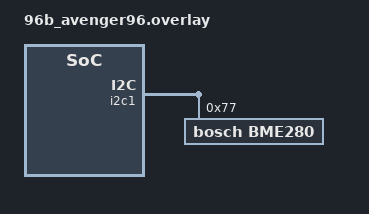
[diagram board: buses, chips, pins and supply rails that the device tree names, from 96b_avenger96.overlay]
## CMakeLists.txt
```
# SPDX-License-Identifier: Apache-2.0

cmake_minimum_required(VERSION 3.13.1)

include($ENV{ZEPHYR_BASE}/cmake/app/boilerplate.cmake NO_POLICY_SCOPE)
project(sensor_cluster)

zephyr_compile_definitions(
  -DMETAL_MAX_DEVICE_REGIONS=2
  -DVIRTIO_SLAVE_ONLY
  )
target_include_directories(app PRIVATE $ENV{ZEPHYR_BASE}/drivers)
target_include_directories(app PRIVATE ${LIBMETAL_INCLUDE_DIR} ${OPENAMP_INCLUDE_DIR} ${PLATFORM_DIR})

FILE(GLOB app_sources src/*.c)
target_sources(app PRIVATE ${app_sources})
target_include_directories(app PRIVATE ${CMAKE_CURRENT_SOURCE_DIR}/..)
```

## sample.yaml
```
sample:
  name: Avenger96 Sensor Cluster Application
```

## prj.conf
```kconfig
CONFIG_I2C=y
CONFIG_I2C_STM32_INTERRUPT=y
CONFIG_SENSOR=y
CONFIG_MPU6050=y
CONFIG_MPU6050_I2C_MASTER_DEV_NAME="I2C_1"
CONFIG_MPU6050_TRIGGER_NONE=y
CONFIG_BME280=y

CONFIG_KERNEL_BIN_NAME="avenger96_sensor_cluster"
CONFIG_IPM=y
CONFIG_IPM_MCUX=y
CONFIG_PLATFORM_SPECIFIC_INIT=n
CONFIG_MAIN_STACK_SIZE=1024
CONFIG_HEAP_MEM_POOL_SIZE=1024
CONFIG_OPENAMP=y
CONFIG_RSC_TABLE_NUM_RPMSG_BUFF=16
CONFIG_RSC_TABLE=y
```

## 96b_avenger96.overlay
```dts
/*
 * Copyright (c) 2019, Linaro Ltd.
 *
 * SPDX-License-Identifier: Apache-2.0
 */

/ {
	chosen {
		/*
		 * shared memory reserved for the inter-processor communication
		 */
		zephyr,ipc_shm = &mcusram3;
	};

 	mcusram3: memory1@10040000 {
		compatible = "mmio-sram";
		reg = <0x10040000 DT_SIZE_K(64)>;
	};
};

&i2c1 {
	bme280@77 {
		compatible = "bosch,bme280";
		reg = <0x77>;
		label = "BME280";
	};
};

&mcusram {
	reg = <0x10000000 DT_SIZE_K(256)>;
};
```

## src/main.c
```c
/*
 * Copyright (c) 2018 STMicroelectronics
 *
 * SPDX-License-Identifier: Apache-2.0
 */

#include <zephyr.h>
#include <device.h>
#include <drivers/sensor.h>
#include <stdio.h>
#include <string.h>
#include <sys/util.h>

static struct sensor_value accel_x, accel_y, accel_z;
static struct sensor_value gyro_x, gyro_y, gyro_z;
static struct sensor_value temp;
static struct device *mpu9250;
static struct device *bmp180;

static bool mpu9250_available = true;
static bool bmp180_available = true;

void init_sensors();

#include <ipm.h>
#include <openamp/open_amp.h>
#include <metal/device.h>
#include <resource_table.h>

extern int __OPENAMP_region_start__[];   /* defined by linker script */
extern int __OPENAMP_region_end__[];  /* defined by linker script */

#define RPMSG_CHAN_NAME	"rpmsg-tty-channel"
#define SHM_DEVICE_NAME	"shm"

/* constant derivated from linker symbols */
#define SHM_START_ADDR	DT_IPC_SHM_BASE_ADDRESS
#define SHM_SIZE (DT_IPC_SHM_SIZE * 1024)

#define APP_TASK_STACK_SIZE (1024)
K_THREAD_STACK_DEFINE(thread_stack, APP_TASK_STACK_SIZE);
static struct k_thread thread_data;

static struct device *ipm_handle;

static metal_phys_addr_t shm_physmap = SHM_START_ADDR;

struct metal_device shm_device = {
	.name = SHM_DEVICE_NAME,
	.num_regions = 2,
	.regions = {
		{.virt = NULL}, /* shared memory */
		{.virt = NULL}, /* rsc_table memory */
	},
	.node = { NULL },
	.irq_num = 0,
	.irq_info = NULL
};

static struct metal_io_region *shm_io;
static struct rpmsg_virtio_shm_pool shpool;

static struct metal_io_region *rsc_io;
static struct rpmsg_virtio_device rvdev;

static void *rsc_table;

static char rcv_msg[20];
static unsigned int rcv_len;
static struct rpmsg_endpoint rcv_ept;

static K_SEM_DEFINE(data_sem, 0, 1);
static K_SEM_DEFINE(data_rx_sem, 0, 1);

static bool first_data = true;

static void platform_ipm_callback(void *context, u32_t id, volatile void *data)
{
	if (first_data)
		k_sem_give(&data_sem);
}

static int rpmsg_recv_callback(struct rpmsg_endpoint *ept, void *data,
			       size_t len, uint32_t src, void *priv)
{
	memcpy(rcv_msg, data, len);
	rcv_len = len;
	k_sem_give(&data_rx_sem);

	return RPMSG_SUCCESS;
}

static void receive_message(unsigned char **msg, unsigned int *len)
{
	while (k_sem_take(&data_rx_sem, K_NO_WAIT) != 0) {
		int status;
		if (first_data) {
			status = k_sem_take(&data_sem, K_FOREVER);
			first_data = false;
		} else {
			status = 0;
		}

		if (status == 0) {
			rproc_virtio_notified(rvdev.vdev, VRING1_ID);
		}
	}
	*len = rcv_len;
	*msg = rcv_msg;
}
static void new_service_cb(struct rpmsg_device *rdev, const char *name,
			   uint32_t src)
{
	printf("%s: unexpected ns service receive for name %s\n",
		__func__, name);
}

int mailbox_notify(void *priv, uint32_t id)
{
	ARG_UNUSED(priv);

	ipm_send(ipm_handle, 0, id, NULL, 0);

	return 0;
}
int platform_init(void)
{
	void *rsc_tab_addr;
	int rsc_size;
	struct metal_device *device;
	struct metal_init_params metal_params = METAL_INIT_DEFAULTS;
	int status;

	status = metal_init(&metal_params);
	if (status) {
		printf("Couldn't register shared memory: %d\n", status);
		return -1;
	}

	status = metal_register_generic_device(&shm_device);
	if (status) {
		printf("Couldn't register shared memory: %d\n", status);
		return -1;
	}

	status = metal_device_open("generic", SHM_DEVICE_NAME, &device);
	if (status) {
		printf("metal_device_open failed: %d\n", status);
		return -1;
	}

	/* declare shared memory region */
	metal_io_init(&device->regions[0], (void *)SHM_START_ADDR, &shm_physmap,
		      SHM_SIZE, -1, 0, NULL);

	shm_io = metal_device_io_region(device, 0);
	if (!shm_io) {
		printf("Failed to get shm_io region\n");
		return -1;
	}

	/* declare resource table region */
	rsc_table_get(&rsc_tab_addr, &rsc_size);
	rsc_table = (struct st_resource_table *)rsc_tab_addr;

	metal_io_init(&device->regions[1], rsc_table,
		      (metal_phys_addr_t *)rsc_table, rsc_size, -1, 0, NULL);

	rsc_io = metal_device_io_region(device, 1);
	if (!shm_io) {
		printf("Failed to get rsc_io region\n");
		return -1;
	}

	/* setup IPM */
	ipm_handle = device_get_binding(DT_IPM_DEV);
	if (!ipm_handle) {
		printf("Failed to find ipm device\n");
		return -1;
	}

	ipm_register_callback(ipm_handle, platform_ipm_callback, NULL);

	status = ipm_set_enabled(ipm_handle, 1);
	if (status) {
		printf("ipm_set_enabled failed\n");
		return -1;
	}

	return 0;
}

static void cleanup_system(void)
{
	ipm_set_enabled(ipm_handle, 0);
	rpmsg_deinit_vdev(&rvdev);
	metal_finish();
}

struct  rpmsg_device *
platform_create_rpmsg_vdev(unsigned int vdev_index,
			   unsigned int role,
			   void (*rst_cb)(struct virtio_device *vdev),
			   rpmsg_ns_bind_cb ns_cb)
{
	struct fw_rsc_vdev_vring *vring_rsc;
	struct virtio_device *vdev;
	int ret;

	vdev = rproc_virtio_create_vdev(VIRTIO_DEV_SLAVE, VDEV_ID,
					rsc_table_to_vdev(rsc_table),
					rsc_io, NULL, mailbox_notify, NULL);

	if (!vdev) {
		printf("failed to create vdev\r\n");
		return NULL;
	}

	/* wait master rpmsg init completion */
	rproc_virtio_wait_remote_ready(vdev);

	vring_rsc = rsc_table_get_vring0(rsc_table);
	ret = rproc_virtio_init_vring(vdev, 0, vring_rsc->notifyid,
				      (void *)vring_rsc->da, rsc_io,
				      vring_rsc->num, vring_rsc->align);
	if (ret) {
		printf("failed to init vring 0\r\n");
		goto failed;
	}

	vring_rsc = rsc_table_get_vring1(rsc_table);
	ret = rproc_virtio_init_vring(vdev, 1, vring_rsc->notifyid,
				      (void *)vring_rsc->da, rsc_io,
				      vring_rsc->num, vring_rsc->align);
	if (ret) {
		printf("failed to init vring 1\r\n");
		goto failed;
	}

	rpmsg_virtio_init_shm_pool(&shpool, NULL, SHM_SIZE);
	ret =  rpmsg_init_vdev(&rvdev, vdev, ns_cb, shm_io, &shpool);

	if (ret) {
		printf("failed rpmsg_init_vdev\r\n");
		goto failed;
	}

	return rpmsg_virtio_get_rpmsg_device(&rvdev);

failed:
	rproc_virtio_remove_vdev(vdev);

	return NULL;
}

void remote_send(char *msg, int len) {
		rpmsg_send(&rcv_ept, msg, len);
}

void app_task(void *arg1, void *arg2, void *arg3)
{
	ARG_UNUSED(arg1);
	ARG_UNUSED(arg2);
	ARG_UNUSED(arg3);
	struct rpmsg_device *rpdev;
	unsigned char *msg;
	int len;
	int ret = 0;
	char message[128];

	printk("Avenger96 Sensor Cluster Demo Started\n");

	/* Initialize platform */
	ret = platform_init();
	if (ret) {
		printf("Failed to initialize platform\n");
		ret = -1;
		goto task_end;
	}

	rpdev = platform_create_rpmsg_vdev(0, VIRTIO_DEV_SLAVE, NULL,
					   new_service_cb);
	if (!rpdev) {
		printf("Failed to create rpmsg virtio device\n");
		ret = -1;
		goto task_end;
	}

	ret = rpmsg_create_ept(&rcv_ept, rpdev, RPMSG_CHAN_NAME,
			       RPMSG_ADDR_ANY, RPMSG_ADDR_ANY,
			       rpmsg_recv_callback, NULL);
	if (ret != 0)
		printf("error while creating endpoint(%d)\n", ret);

	ipm_send(ipm_handle, 0, 0, NULL, 0);

	init_sensors();

	receive_message(&msg, &len);

	while (1) {
		/* Get sensor samples */
		if (mpu9250_available && sensor_sample_fetch(mpu9250) < 0) {
			printf("MPU9250 Sensor sample update error\n");
		}
		if (bmp180_available && sensor_sample_fetch(bmp180) < 0) {
			printf("BMP180 Sensor sample update error\n");
		}

		/* Get sensor data */
		if (mpu9250_available) {
			sensor_channel_get(mpu9250, SENSOR_CHAN_ACCEL_X, &accel_x);
			sensor_channel_get(mpu9250, SENSOR_CHAN_ACCEL_Y, &accel_y);
			sensor_channel_get(mpu9250, SENSOR_CHAN_ACCEL_Z, &accel_z);
			sensor_channel_get(mpu9250, SENSOR_CHAN_GYRO_X, &gyro_x);
			sensor_channel_get(mpu9250, SENSOR_CHAN_GYRO_Y, &gyro_y);
			sensor_channel_get(mpu9250, SENSOR_CHAN_GYRO_Z, &gyro_z);
		}
		if (bmp180_available) {
			sensor_channel_get(bmp180, SENSOR_CHAN_AMBIENT_TEMP, &temp);
		}

		/* Display sensor data */
		len = snprintf(message, sizeof(message), "96Boards Avenger96 Sensor Cluster:\n");
		remote_send(message, len);

		if (mpu9250_available) {
			/* ACCEL */
			len = snprintf(message, sizeof(message),
				"MPU9250: Accel ( x y z ) = ( %f  %f  %f )\n",
				sensor_value_to_double(&accel_x),
				sensor_value_to_double(&accel_y),
				sensor_value_to_double(&accel_z));
			remote_send(message, len);

			/* GYRO */
			len = snprintf(message, sizeof(message),
				"MPU9250: Gyro ( x y z ) = ( %f  %f  %f )\n",
				sensor_value_to_double(&gyro_x),
				sensor_value_to_double(&gyro_y),
				sensor_value_to_double(&gyro_z));
			remote_send(message, len);
		}

		if (bmp180_available) {
			/* bmp180 temperature */
			len = snprintf(message, sizeof(message),
					"BMP180: Temperature: %.1f C\n\n",
					sensor_value_to_double(&temp));
			remote_send(message, len);
		}

		k_sleep(2000);
	}

	rpmsg_destroy_ept(&rcv_ept);

task_end:
	cleanup_system();

	printk("Avenger96 Sensor Cluster Demo Ended\n");
}

void init_sensors() {
	/* search in devicetree if sensors are referenced */
	mpu9250 = device_get_binding(CONFIG_MPU6050_NAME);
	bmp180 = device_get_binding(DT_INST_0_BOSCH_BME280_LABEL);

	if (mpu9250 == NULL) {
		printf("Could not get MPU9250 device\n");
		mpu9250_available = false;
	}
	if (bmp180 == NULL) {
		printf("Could not get BMP180 device\n");
		bmp180_available = false;
	}
}

void main(void)
{
	/* openAMP */
	printk("Starting application thread!\n");
	k_thread_create(&thread_data, thread_stack, APP_TASK_STACK_SIZE,
			(k_thread_entry_t)app_task,
			NULL, NULL, NULL, K_PRIO_COOP(7), 0, 0);
}
```
